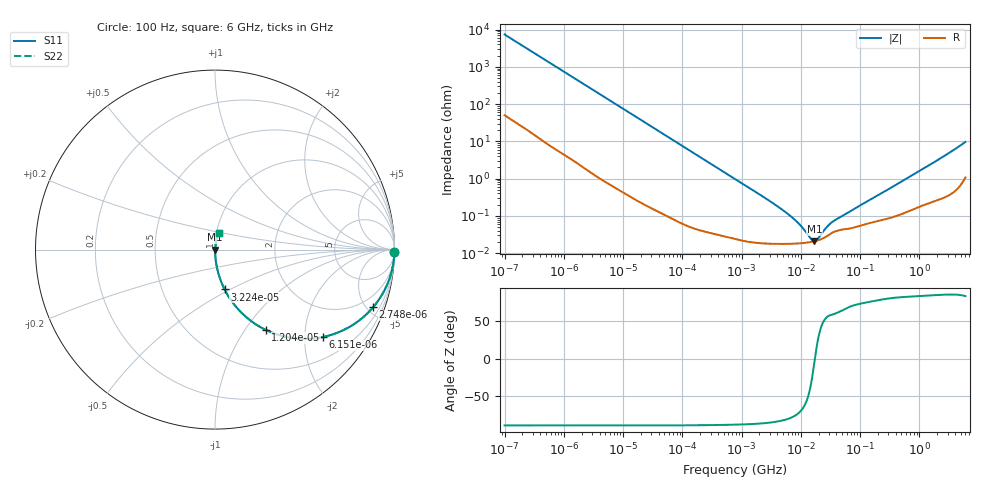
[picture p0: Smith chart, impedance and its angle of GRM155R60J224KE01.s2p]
!Murata Part Number: GRM155R60J224KE01
!These Parameters are Measured in Series Mode Connection
!Data Generated on Mar 30, 2021
!  o--ll--o
!Port1  Port2
!  o------o
!Operation Temp=25[degC], DC Bias Voltage=0[V]
!Freq. Start=100[Hz] Stop=6[GHz] 401[Steps]
# Hz S RI R 50
!Freq.(Hz) S11(Real) S11(Imag) S21(Real) S21(Imag) S12(Real) S12(Imag) S22(Real) S22(Imag)
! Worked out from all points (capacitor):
!   401 points, 100 Hz to 6 GHz, reference 50 ohm
!   read as one part in series: C = 214 nF near 109 Hz
!   lowest |Z| = 21 mohm at 17.01 MHz (marker M1)
!   series resonance near 17.31 MHz, so ESL is about 390 pH
!   S11 on the Smith chart (normalised r, x): 100 Hz: open; 2.748 kHz: 1.03, -5.47; 6.151 kHz: 1.01, -2.45; 12.04 kHz: 1.01, -1.25; 32.24 kHz: 1.00, -0.47; 6 GHz: 1.02, +0.19
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100  0.9997 -0.0135  0.000274 0.0135  0.000274 0.0135  0.9997 -0.0135
600  0.9931 -0.0797  0.00687 0.0797  0.00687 0.0797  0.9931 -0.0797
2008  0.9319 -0.2491  0.0681 0.2491  0.0681 0.2491  0.9319 -0.2491
2748  0.8805 -0.3216  0.1195 0.3216  0.1195 0.3216  0.8805 -0.3216
4111  0.7686 -0.4191  0.2314 0.4191  0.2314 0.4191  0.7686 -0.4191
6151  0.599 -0.4874  0.401 0.4874  0.401 0.4874  0.599 -0.4874
12041  0.283 -0.4476  0.717 0.4476  0.717 0.4476  0.283 -0.4476
18841  0.14 -0.344  0.86 0.344  0.86 0.344  0.14 -0.344
32244  0.0535 -0.2218  0.9465 0.2218  0.9465 0.2218  0.0535 -0.2218
40335  0.0352 -0.181  0.9648 0.181  0.9648 0.181  0.0352 -0.181
129199  0.00397 -0.0586  0.996 0.0586  0.996 0.0586  0.00397 -0.0586
774597  0.000337 -0.00988  0.9997 0.00988  0.9997 0.00988  0.000337 -0.00988
6075234  0.000179 -0.00111  0.9998 0.00111  0.9998 0.00111  0.000179 -0.00111
9506416  0.000184 -0.000566  0.9998 0.000566  0.9998 0.000566  0.000184 -0.000566
1.555665e7  0.000203 -9.48e-05  0.9998 9.48e-05  0.9998 9.48e-05  0.000203 -9.48e-05
1.701401e7  0.000209 -1.5e-05  0.9998 1.5e-05  0.9998 1.5e-05  0.000209 -1.5e-05
1.946e7  0.000222 0.000104  0.9998 -0.000104  0.9998 -0.000104  0.000222 0.000104
2.784235e7  0.000289 0.000427  0.9997 -0.000427  0.9997 -0.000427  0.000289 0.000427
3.482834e7  0.000363 0.000608  0.9996 -0.000608  0.9996 -0.000608  0.000363 0.000608
3.124326e8  0.0009 0.0053  0.9991 -0.0053  0.9991 -0.0053  0.0009 0.0053
1.95892e9  0.00348 0.0301  0.9965 -0.0301  0.9965 -0.0301  0.00348 0.0301
6e9  0.0196 0.0934  0.9804 -0.0934  0.9804 -0.0934  0.0196 0.0934
